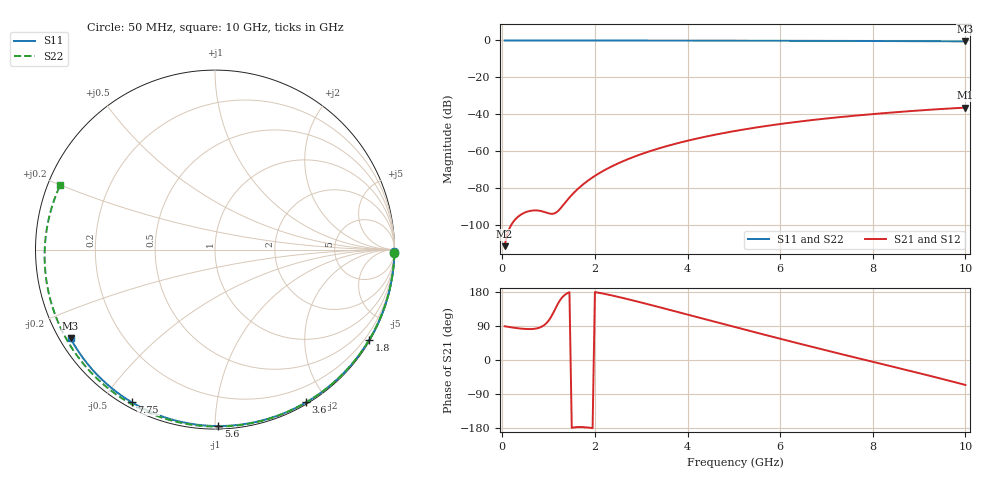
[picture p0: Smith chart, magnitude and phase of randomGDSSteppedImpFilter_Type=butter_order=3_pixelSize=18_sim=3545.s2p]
! freq	dB(S11)	phase(S11)	dB(S12)	phase(S12)
!  dB(S21)	phase(S21)	dB(S22)	phase(S22)
!S-par simulation data
#  GHz  S  DB  R 50
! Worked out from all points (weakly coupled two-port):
!   200 points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, 50 MHz to 10 GHz, reference 50 ohm
!   highest |S21| = -36.31 dB at 10 GHz (marker M1); lowest = -111.2 dB at 50 MHz (marker M2)
!   lowest |S11| = -0.5 dB at 10 GHz (marker M3), VSWR 35.16, Z = 1.54 - j14.1 ohm
!   |S11| at or under -10 dB: nowhere
!   |S22| runs from -0.6 to 0.0 dB; largest |S21 - S12| = 0
!   S11 on the Smith chart (normalised r, x): 50 MHz: open; 1.8 GHz: 0.03, -3.69; 3.6 GHz: 0.02, -1.76; 5.6 GHz: 0.02, -1.02; 7.75 GHz: 0.02, -0.59; 10 GHz: 0.03, -0.28
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0.05  -0.00 -0.9  -111.19 89.1  -111.19 89.1  -0.00 -1.2
0.45  -0.01 -7.7  -93.45 82.3  -93.45 82.3  -0.01 -10.9
0.8  -0.02 -13.6  -92.03 85.3  -92.03 85.3  -0.02 -19.3
1.6  -0.03 -27.0  -80.98 -177.1  -80.98 -177.1  -0.05 -38.2
1.65  -0.04 -27.9  -79.82 -176.8  -79.82 -176.8  -0.05 -39.4
1.75  -0.04 -29.5  -77.69 -177.1  -77.69 -177.1  -0.05 -41.7
1.8  -0.04 -30.3  -76.70 -177.5  -76.70 -177.5  -0.05 -42.8
2.1  -0.05 -35.3  -71.64 177.1  -71.64 177.1  -0.06 -49.7
2.5  -0.05 -41.8  -66.45 166.7  -66.45 166.7  -0.07 -58.7
2.9  -0.06 -48.2  -62.34 154.8  -62.34 154.8  -0.09 -67.4
3.4  -0.07 -56.1  -58.20 139.1  -58.20 139.1  -0.10 -78.1
3.6  -0.08 -59.2  -56.77 132.8  -56.77 132.8  -0.11 -82.2
4.3  -0.10 -69.9  -52.48 110.3  -52.48 110.3  -0.13 -96.5
5.05  -0.12 -81.0  -48.82 86.2  -48.82 86.2  -0.17 -111.1
5.6  -0.15 -88.9  -46.59 68.7  -46.59 68.7  -0.20 -121.4
6.15  -0.17 -96.7  -44.67 51.4  -44.67 51.4  -0.23 -131.6
6.7  -0.20 -104.3  -42.99 34.4  -42.99 34.4  -0.27 -141.6
7.25  -0.24 -111.8  -41.53 17.7  -41.53 17.7  -0.31 -151.5
7.75  -0.28 -118.5  -40.34 2.7  -40.34 2.7  -0.35 -160.6
8.35  -0.33 -126.5  -39.07 -15.2  -39.07 -15.2  -0.41 -171.5
9.2  -0.41 -137.8  -37.50 -40.7  -37.50 -40.7  -0.50 172.8
10  -0.49 -148.4  -36.31 -65.9  -36.31 -65.9  -0.59 157.3
